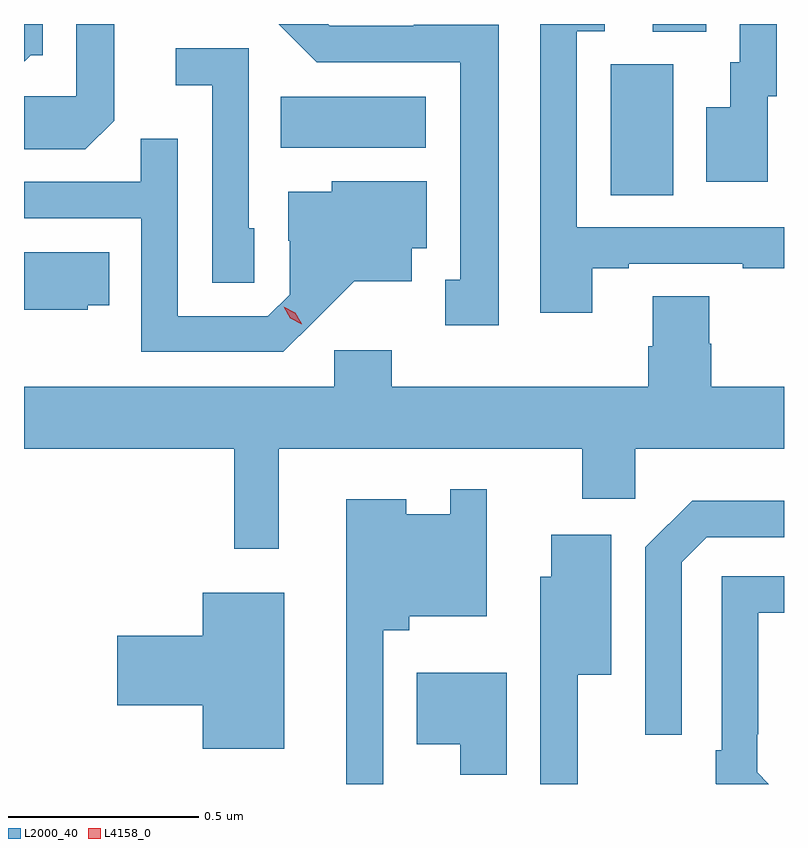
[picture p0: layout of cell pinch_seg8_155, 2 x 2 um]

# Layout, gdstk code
import gdstk
lib = gdstk.Library(unit=1e-6, precision=1e-09)
def R(c, l, rs):  # rectangles x0, y0, x1, y1
    for r in rs: c.add(gdstk.rectangle(r[:2], r[2:], *l))
def P(c, l, *ps):  # polygons
    for p in ps: c.add(gdstk.Polygon(p, *l))
L2000_40 = (2000, 40)
L4158_0 = (4158, 0)

pinch_seg8_155 = lib.new_cell('pinch_seg8_155')
R(pinch_seg8_155, L2000_40, [(707.444,1149.136,707.608,1149.48), (706.576,1149.26,706.957,1149.394), (707.555,1149.565,707.695,1149.586)])
P(pinch_seg8_155, L2000_40, [(706.137,1149.332),(706.137,1149.586),(706.038,1149.586),(706.038,1149.396),(705.9,1149.396),(705.9,1149.256),(706.061,1149.256)],
  [(707.149,1149.584),(706.926,1149.584),(706.926,1149.582),(706.704,1149.582),(706.7,1149.586),(706.571,1149.586),(706.671,1149.486),(707.048,1149.486),(707.048,1148.913),(707.009,1148.913),(707.009,1148.793),(707.149,1148.793)],
  [(707.857,1149.396),(707.881,1149.396),(707.881,1149.586),(707.784,1149.586),(707.784,1149.486),(707.759,1149.486),(707.759,1149.367),(707.696,1149.367),(707.696,1149.171),(707.857,1149.171)],
  [(707.395,1148.943),(707.491,1148.943),(707.491,1148.955),(707.791,1148.955),(707.791,1148.943),(707.9,1148.943),(707.9,1149.051),(707.355,1149.051),(707.355,1149.567),(707.428,1149.567),(707.428,1149.586),(707.259,1149.586),(707.259,1148.826),(707.395,1148.826)],
  [(705.918,1149.504),(705.949,1149.504),(705.949,1149.586),(705.9,1149.586),(705.9,1149.488),(705.902,1149.488)],
  [(706.506,1149.048),(706.491,1149.048),(706.491,1149.522),(706.299,1149.522),(706.299,1149.425),(706.395,1149.425),(706.395,1148.905),(706.506,1148.905)],
  [(706.666,1148.807),(706.769,1148.909),(706.921,1148.909),(706.921,1148.996),(706.96,1148.996),(706.96,1149.172),(706.71,1149.172),(706.71,1149.145),(706.595,1149.145),(706.595,1149.016),(706.599,1149.016),(706.599,1148.874),(706.542,1148.817),(706.305,1148.817),(706.305,1149.284),(706.207,1149.284),(706.207,1149.171),(705.9,1149.171),(705.9,1149.075),(706.209,1149.075),(706.209,1148.724),(706.582,1148.724)],
  [(706.068,1148.846),(706.124,1148.846),(706.124,1148.986),(705.9,1148.986),(705.9,1148.834),(706.068,1148.834)],
  [(706.57,1148.468),(707.369,1148.468),(707.369,1148.337),(707.508,1148.337),(707.508,1148.468),(707.9,1148.468),(707.9,1148.632),(707.708,1148.632),(707.708,1148.745),(707.703,1148.745),(707.703,1148.87),(707.555,1148.87),(707.555,1148.738),(707.543,1148.738),(707.543,1148.632),(706.868,1148.632),(706.868,1148.728),(706.716,1148.728),(706.716,1148.632),(705.9,1148.632),(705.9,1148.468),(706.453,1148.468),(706.453,1148.205),(706.57,1148.205)],
  [(706.845,1147.991),(706.914,1147.991),(706.914,1148.027),(707.118,1148.027),(707.118,1148.362),(707.022,1148.362),(707.022,1148.296),(706.906,1148.296),(706.906,1148.335),(706.748,1148.335),(706.748,1147.586),(706.845,1147.586)],
  [(707.631,1148.169),(707.697,1148.235),(707.9,1148.235),(707.9,1148.332),(707.658,1148.332),(707.535,1148.209),(707.535,1147.716),(707.631,1147.716)],
  [(707.357,1147.874),(707.446,1147.874),(707.446,1148.242),(707.288,1148.242),(707.288,1148.131),(707.259,1148.131),(707.259,1147.586),(707.357,1147.586)],
  [(707.829,1147.617),(707.829,1147.717),(707.832,1147.717),(707.832,1148.037),(707.9,1148.037),(707.9,1148.133),(707.736,1148.133),(707.736,1147.675),(707.721,1147.675),(707.721,1147.587),(707.722,1147.586),(707.86,1147.586)],
  [(706.585,1148.089),(706.37,1148.089),(706.37,1147.976),(706.146,1147.976),(706.146,1147.793),(706.37,1147.793),(706.37,1147.679),(706.585,1147.679)],
  [(707.17,1147.879),(706.934,1147.879),(706.934,1147.691),(707.048,1147.691),(707.048,1147.61),(707.17,1147.61)])
P(pinch_seg8_155, L4158_0, [(706.631,1148.796),(706.6,1148.812),(706.583,1148.842),(706.583,1148.842),(706.584,1148.842),(706.614,1148.826),(706.631,1148.797),(706.631,1148.796)])

lib.write_gds('pinch_seg8_155.gds')
